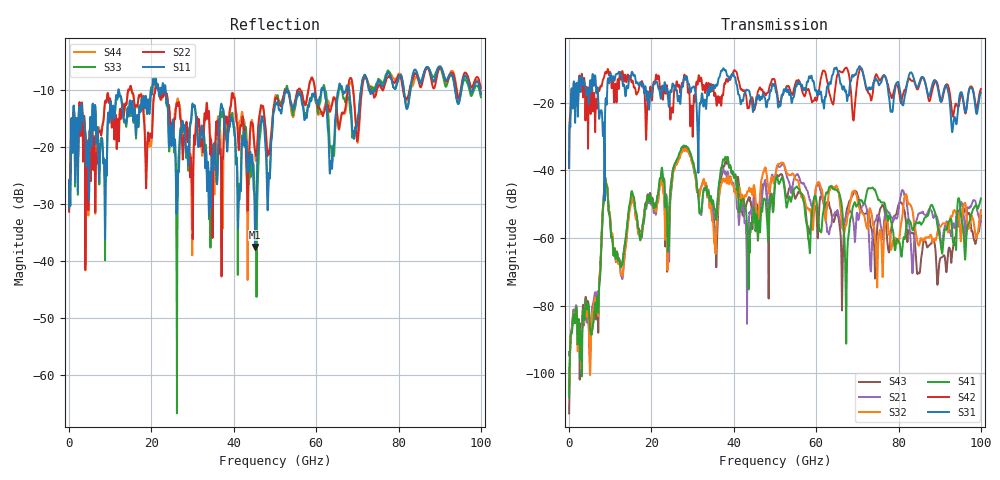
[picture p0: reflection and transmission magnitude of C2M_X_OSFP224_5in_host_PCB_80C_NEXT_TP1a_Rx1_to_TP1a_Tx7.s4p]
# GHz S RI R 45
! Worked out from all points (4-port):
!   4000 points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, 25 MHz to 100 GHz, reference 45 ohm
!   strongest paths, dB at 25 MHz, 25.02 GHz, 50.02 GHz, 75.03 GHz, 100 GHz:
!     S31: -39.1, -15.2, -15.2, -13.9, -17.0
!     S42: -39.3, -21.6, -13.7, -12.5, -15.9
!     S41: -107.0, -41.9, -43.8, -48.5, -48.3
!     S32: -103.7, -43.2, -42.5, -62.7, -51.8
!     S21: -93.7, -44.0, -41.8, -53.2, -55.1
!     S43: -111.9, -41.5, -44.1, -54.6, -53.5
!   lowest |S11| = -37.5 dB at 45.2 GHz (marker M1), VSWR 1.03, Z = 43.9 + j0.28 ohm
!   |S11| at or under -10 dB: start of sweep to 11.95 GHz; 23.47 GHz to 52.79 GHz (29.32 GHz wide, 76.9 % of centre); 53.06 GHz to 61.23 GHz (8.169 GHz wide, 14.3 % of centre) (the widest 3 of 17)
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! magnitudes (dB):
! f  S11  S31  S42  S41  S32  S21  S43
! 25 MHz  -30.7  -39.1  -39.3  -107.0  -103.7  -93.7  -111.9
! 6.75 GHz  -17.7  -16.3  -21.2  -79.4  -79.7  -76.8  -81.5
! 8.9 GHz  -23.7  -18.7  -10.9  -43.0  -42.8  -43.1  -42.7
! 12.85 GHz  -12.6  -12.4  -11.1  -68.0  -71.0  -71.8  -67.4
! 27.73 GHz  -16.6  -14.3  -14.1  -32.8  -33.6  -33.2  -33.3
! 45.2 GHz  -37.5  -20.8  -21.1  -56.1  -46.8  -49.7  -49.4
! 100 GHz  -10.7  -17.0  -15.9  -48.3  -51.8  -55.1  -53.5
